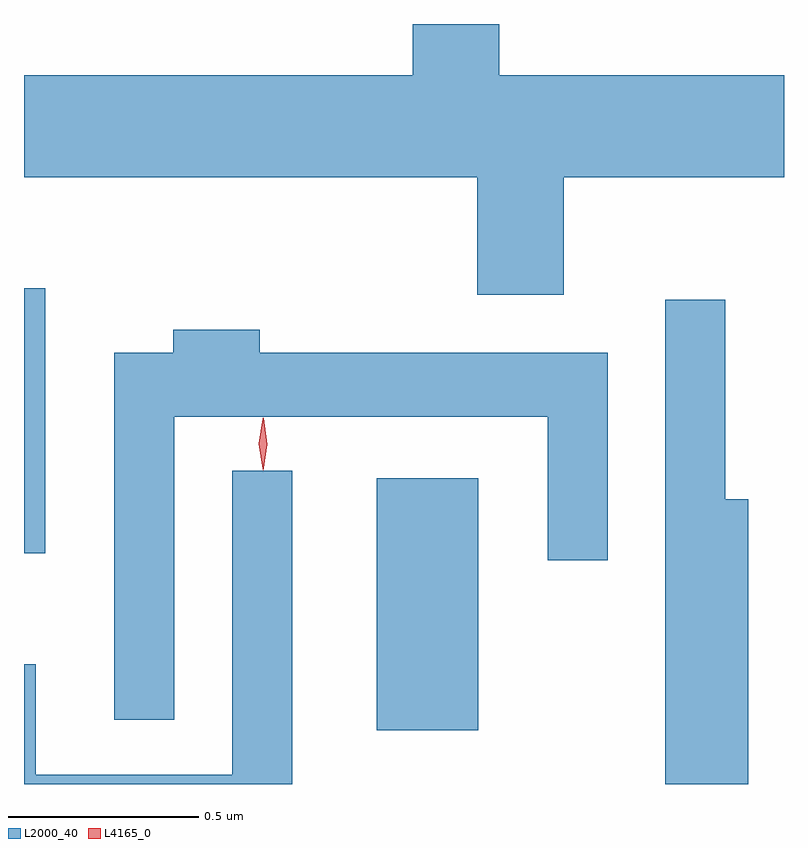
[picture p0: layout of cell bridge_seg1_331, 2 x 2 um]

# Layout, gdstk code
import gdstk
lib = gdstk.Library(unit=1e-6, precision=1e-09)
def R(c, l, rs):  # rectangles x0, y0, x1, y1
    for r in rs: c.add(gdstk.rectangle(r[:2], r[2:], *l))
def P(c, l, *ps):  # polygons
    for p in ps: c.add(gdstk.Polygon(p, *l))
L2000_40 = (2000, 40)
L4165_0 = (4165, 0)

bridge_seg1_331 = lib.new_cell('bridge_seg1_331')
R(bridge_seg1_331, L2000_40, [(924.916,875.921,925.184,876.584), (923.988,876.386,924.044,877.084)])
P(bridge_seg1_331, L2000_40, [(925.409,877.376),(925.988,877.376),(925.988,877.644),(925.239,877.644),(925.239,877.779),(925.011,877.779),(925.011,877.644),(923.988,877.644),(923.988,877.376),(925.181,877.376),(925.181,877.066),(925.409,877.066)],
  [(925.894,876.529),(925.834,876.529),(925.834,877.053),(925.676,877.053),(925.676,875.779),(925.894,875.779)],
  [(924.384,876.746),(925.366,876.746),(925.366,876.368),(925.524,876.368),(925.524,876.914),(924.609,876.914),(924.609,876.974),(924.381,876.974),(924.381,876.914),(924.226,876.914),(924.226,875.948),(924.384,875.948)],
  [(924.694,876.603),(924.536,876.603),(924.536,875.804),(924.019,875.804),(924.019,876.094),(923.988,876.094),(923.988,875.779),(924.694,875.779)])
P(bridge_seg1_331, L4165_0, [(924.616,876.607),(924.616,876.608),(924.606,876.674),(924.616,876.74),(924.616,876.741),(924.617,876.74),(924.626,876.674),(924.617,876.608)],
  [(924.617,876.604),(924.608,876.673),(924.618,876.742),(924.618,876.743),(924.619,876.742),(924.628,876.673),(924.618,876.604),(924.618,876.604)])

lib.write_gds('bridge_seg1_331.gds')
